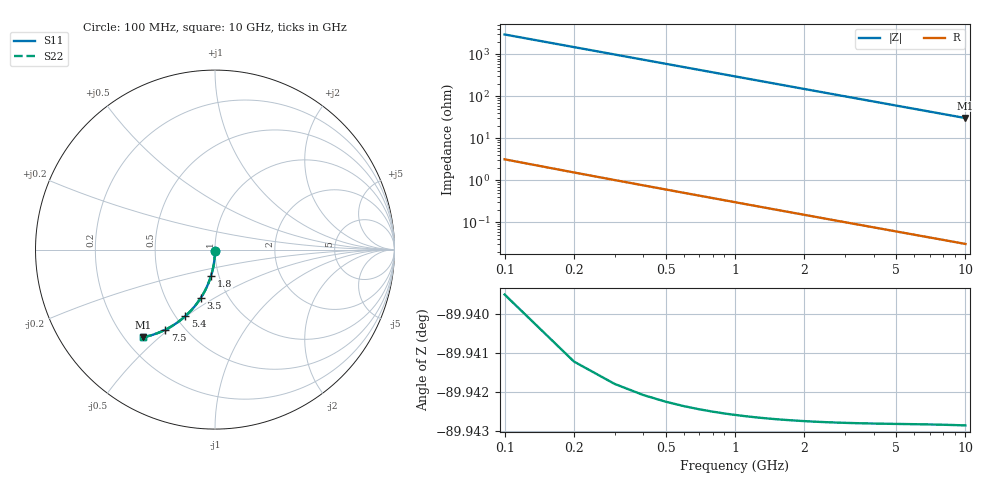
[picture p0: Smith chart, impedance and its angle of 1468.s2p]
# Hz S RI R 50.00
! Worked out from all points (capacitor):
!   100 points, 100 MHz to 10 GHz, reference 50 ohm
!   read as one part in shunt: C = 531 fF near 100 MHz
!   lowest |Z| = 30.5 ohm at 10 GHz (marker M1)
!   S11 on the Smith chart (normalised r, x): 100 MHz: 1.00, -0.02; 1.8 GHz: 0.92, -0.27; 3.5 GHz: 0.75, -0.43; 5.4 GHz: 0.56, -0.50; 7.5 GHz: 0.40, -0.49; 10 GHz: 0.27, -0.44
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1e8  -7.66e-05 -0.00834  0.9999 -0.00835  0.9999 -0.00835  -7.66e-05 -0.00834
2e8  -0.000294 -0.0167  0.9997 -0.0167  0.9997 -0.0167  -0.000294 -0.0167
3e8  -0.00065 -0.025  0.9993 -0.025  0.9993 -0.025  -0.00065 -0.025
4e8  -0.00114 -0.0333  0.9989 -0.0334  0.9989 -0.0334  -0.00114 -0.0333
5e8  -0.00178 -0.0416  0.9982 -0.0417  0.9982 -0.0417  -0.00178 -0.0416
6e8  -0.00255 -0.0499  0.9974 -0.05  0.9974 -0.05  -0.00255 -0.0499
8e8  -0.00449 -0.0663  0.9955 -0.0665  0.9955 -0.0665  -0.00449 -0.0663
1.1e9  -0.00842 -0.0908  0.9916 -0.091  0.9916 -0.091  -0.00842 -0.0908
1.4e9  -0.0135 -0.1149  0.9865 -0.1151  0.9865 -0.1151  -0.0135 -0.1149
1.8e9  -0.0221 -0.1463  0.9779 -0.1466  0.9779 -0.1466  -0.0221 -0.1463
2.1e9  -0.0297 -0.1692  0.9703 -0.1696  0.9703 -0.1696  -0.0297 -0.1692
2.5e9  -0.0415 -0.1988  0.9585 -0.1992  0.9585 -0.1992  -0.0415 -0.1988
2.9e9  -0.055 -0.2271  0.945 -0.2277  0.945 -0.2277  -0.055 -0.2271
3.4e9  -0.0738 -0.2607  0.9262 -0.2613  0.9262 -0.2613  -0.0738 -0.2607
3.5e9  -0.0778 -0.2671  0.9222 -0.2677  0.9222 -0.2677  -0.0778 -0.2671
4.3e9  -0.1126 -0.3152  0.8874 -0.316  0.8874 -0.316  -0.1126 -0.3152
5.1e9  -0.151 -0.3571  0.849 -0.3581  0.849 -0.3581  -0.151 -0.3571
5.4e9  -0.1661 -0.3712  0.8339 -0.3722  0.8339 -0.3722  -0.1661 -0.3712
6.7e9  -0.2339 -0.4222  0.7661 -0.4234  0.7661 -0.4234  -0.2339 -0.4222
7.5e9  -0.2762 -0.4459  0.7238 -0.4473  0.7238 -0.4473  -0.2762 -0.4459
8.4e9  -0.3232 -0.4664  0.6768 -0.468  0.6768 -0.468  -0.3232 -0.4664
1e10  -0.4028 -0.489  0.5972 -0.4909  0.5972 -0.4909  -0.4028 -0.489
